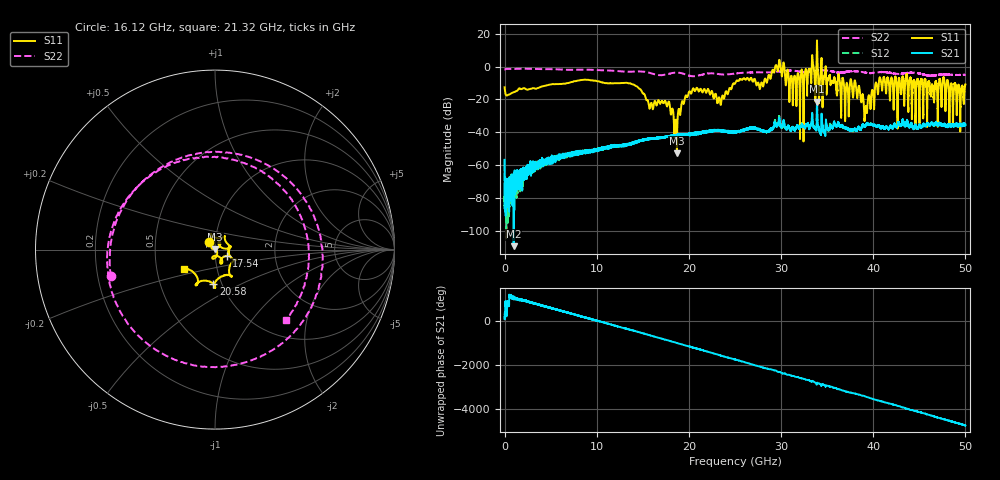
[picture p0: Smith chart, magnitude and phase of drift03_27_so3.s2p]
!Created with skrf (http://scikit-rf.org).
# Hz S RI R 50.0
!freq ReS11 ImS11 ReS21 ImS21 ReS12 ImS12 ReS22 ImS22
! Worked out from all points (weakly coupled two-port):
!   10001 points, 300 kHz to 50 GHz, reference 50 ohm
!   highest |S21| = -21.45 dB at 33.9 GHz (marker M1); lowest = -109.3 dB at 985.3 MHz (marker M2)
!   lowest |S11| = -52.8 dB at 18.7 GHz (marker M3), VSWR 1.00, Z = 50 + j0.23 ohm
!   |S11| at or under -10 dB: start of sweep to 6.948 GHz; 13.31 GHz to 25.05 GHz (11.73 GHz wide, 61.2 % of centre); 38.08 GHz to 40.27 GHz (2.193 GHz wide, 5.6 % of centre) (the widest 3 of 55)
!   |S22| runs from -5.9 to -1.3 dB; largest |S21 - S12| = 0.0074
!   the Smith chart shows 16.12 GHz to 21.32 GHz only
!   S11 on the Smith chart (normalised r, x): 16.12 GHz: 0.94, +0.08; 17.54 GHz: 1.13, -0.08; 20.58 GHz: 0.91, -0.36; 21.32 GHz: 0.69, -0.16
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300000  -0.2103 -0.0982  -0.00144 0.000163  -0.00101 0.000496  -0.7637 -0.188
9.852941e8  0.0581 0.1536  -7.4e-07 -3.33e-06  0.000258 -0.000136  0.3367 0.7737
2.330286e9  0.0242 -0.2016  -0.000836 -0.000276  -0.000564 0.000125  0.0973 -0.8506
3.935276e9  -0.0193 0.2404  0.00133 -0.000302  0.00107 -0.000296  -0.03 0.8315
5.470267e9  0.0677 -0.2822  -0.00148 0.000134  -0.00159 5.01e-05  0.1682 -0.8091
8.33525e9  0.2836 -0.2681  -0.00235 -0.000884  -0.00226 -0.000909  0.6011 -0.5361
1.043024e10  -0.0421 0.3321  0.00251 -0.00189  0.00246 -0.00192  -0.0361 0.7698
1.201523e10  0.00698 -0.3089  -0.00303 0.00258  -0.00288 0.00255  0.1054 -0.7291
1.372522e10  -0.0251 0.2992  0.00264 -0.00371  0.0026 -0.00385  -0.0657 0.694
1.61152e10  -0.0316 0.0409  0.00609 0.00211  0.00599 0.00208  -0.5796 -0.1487
1.66702e10  0.0543 0.0757  0.00447 -0.00503  0.00462 -0.00504  -0.3558 0.4193
1.753519e10  0.0643 -0.0353  -0.00618 -0.00395  -0.00618 -0.00361  0.4998 0.2785
1.869519e10  1.1e-06 0.0023  0.00236 0.00772  0.00265 0.00787  -0.0883 -0.6485
2.058018e10  -0.00844 -0.1919  -0.00743 -0.00441  -0.00844 -0.00443  0.3794 0.3359
2.132017e10  -0.171 -0.108  -0.00498 0.00849  -0.00518 0.00798  0.3952 -0.3921
2.500015e10  -0.2968 -0.0479  0.00795 0.00628  0.00788 0.00687  -0.1868 -0.5832
3.051512e10  0.2365 -0.1249  -0.0018 0.0131  -0.002 0.0124  0.7413 -0.0715
3.213011e10  0.2046 0.3688  9.23e-06 -0.0146  -0.000427 -0.0148  -0.6962 0.0136
3.33351e10  0.464 -0.9934  -0.00527 0.0256  -0.00575 0.0237  0.6143 0.3641
3.38951e10  -0.8408 -6.158  0.0843 0.00703  0.0828 0.00403  0.6732 -0.3265
4.167005e10  -0.2147 0.286  -0.0119 -0.00464  -0.0115 -0.00496  -0.6534 -0.0528
5e10  -0.1456 -0.2471  0.000849 -0.0171  0.00111 -0.016  0.4628 -0.3198
